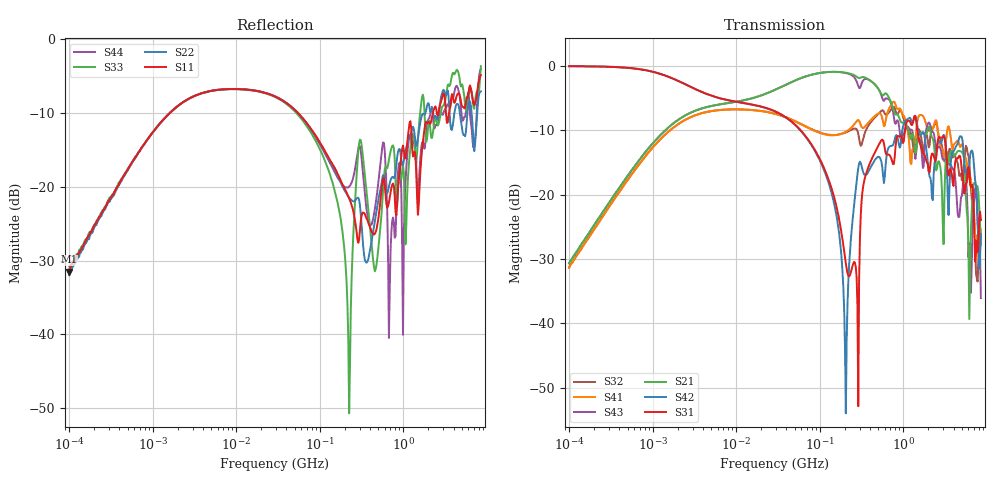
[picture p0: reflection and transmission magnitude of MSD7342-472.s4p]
# MHz S MA R 50
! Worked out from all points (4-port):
!   498 points, 100 kHz to 8.5 GHz, reference 50 ohm
!   strongest paths, dB at 100 kHz, 1.698 MHz, 29.49 MHz, 500.7 MHz, 8.5 GHz:
!     S31: -0.1, -1.9, -7.1, -12.4, -23.9
!     S42: -0.1, -1.9, -7.1, -14.1, -26.1
!     S21: -30.7, -9.1, -3.7, -3.5, -27.8
!     S43: -30.6, -9.1, -3.7, -3.5, -36.1
!     S41: -31.4, -9.8, -7.5, -7.4, -25.4
!     S32: -31.4, -9.8, -7.4, -7.5, -23.9
!   lowest |S11| = -31.5 dB at 100 kHz (marker M1), VSWR 1.05, Z = 50.1 + j2.66 ohm
!   |S11| at or under -10 dB: 55.09 MHz to 2.26 GHz (2.205 GHz wide, 190 % of centre); 2.521 GHz to 2.638 GHz (116.4 MHz wide, 4.51 % of centre); 3.25 GHz to 3.536 GHz (286.1 MHz wide, 8.43 % of centre)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
0.1  0.02657 86.5  0.0292 86.2  0.9933 -1.7  0.02703 -94.6
     0.0292 86.2  0.02519 89.3  0.02703 -94.3  0.9942 -1.6
     0.9933 -1.7  0.02703 -94.3  0.02903 88.1  0.02948 86.4
     0.02703 -94.6  0.9942 -1.6  0.02948 86.4  0.02684 88.1
4.430429  0.4402 16.6  0.4785 25.5  0.6051 -21.7  0.4383 -164.4
          0.4785 25.5  0.4406 16.4  0.4382 -164.7  0.6051 -21.8
          0.6051 -21.7  0.4382 -164.7  0.4398 16.4  0.4782 25.4
          0.4383 -164.4  0.6051 -21.8  0.4782 25.4  0.4408 16.8
159.8183  0.1265 -86.7  0.8981 -28.1  0.07928 -96.3  0.2907 63.1
          0.8981 -28.1  0.1219 -98.6  0.2911 55.8  0.06719 -102.5
          0.07928 -96.3  0.2911 55.8  0.08269 -99.1  0.8973 -29.9
          0.2907 63.1  0.06719 -102.5  0.8973 -29.9  0.1188 -77.7
225.1135  0.08368 -98.4  0.8737 -45.3  0.02326 -47.3  0.3206 42.5
          0.8737 -45.3  0.08425 -118.9  0.3124 32.7  0.0286 54.7
          0.02326 -47.3  0.3124 32.7  0.00292 -61.7  0.8648 -48.8
          0.3206 42.5  0.0286 54.7  0.8648 -48.8  0.1004 -73.1
302.9285  0.05042 -79.9  0.8049 -61.3  0.04531 101.5  0.3631 9.4
          0.8049 -61.3  0.07509 161.2  0.2511 2.4  0.1801 6.9
          0.04531 101.5  0.2511 2.4  0.2089 -32.4  0.6719 -61.2
          0.3631 9.4  0.1801 6.9  0.6719 -61.2  0.1883 -129.7
1139.211  0.2214 -89.3  0.3247 162.5  0.3745 -139.0  0.3036 -177.9
          0.3247 162.5  0.2032 -72.9  0.3203 -169.5  0.3876 -145.9
          0.3745 -139.0  0.3203 -169.5  0.1157 -57.6  0.3363 172.4
          0.3036 -177.9  0.3876 -145.9  0.3363 172.4  0.186 -69.2
8500  0.5713 -56.4  0.04087 -50.0  0.06362 -33.9  0.05359 -16.3
      0.04087 -50.0  0.4438 -50.2  0.06382 -30.8  0.04958 -62.9
      0.06362 -33.9  0.06382 -30.8  0.6575 -41.6  0.01574 28.5
      0.05359 -16.3  0.04958 -62.9  0.01574 28.5  0.6275 -58.3
